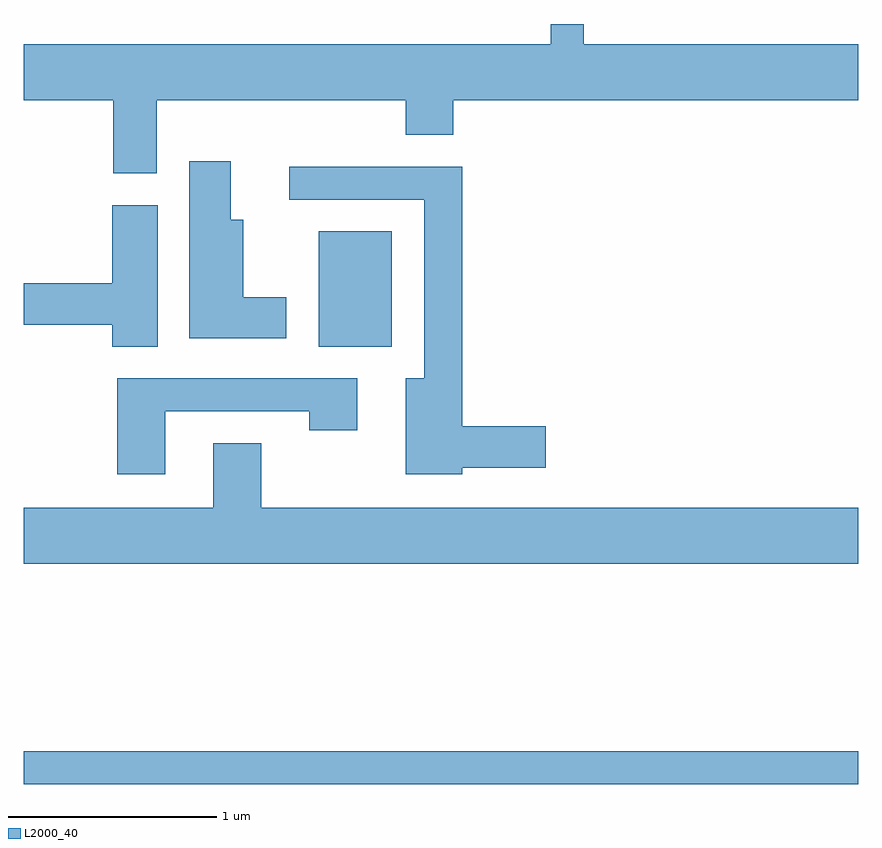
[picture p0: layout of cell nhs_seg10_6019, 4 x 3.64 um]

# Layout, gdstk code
import gdstk
lib = gdstk.Library(unit=1e-6, precision=1e-09)
def R(c, l, rs):  # rectangles x0, y0, x1, y1
    for r in rs: c.add(gdstk.rectangle(r[:2], r[2:], *l))
def P(c, l, *ps):  # polygons
    for p in ps: c.add(gdstk.Polygon(p, *l))
L2000_40 = (2000, 40)

nhs_seg10_6019 = lib.new_cell('nhs_seg10_6019')
R(nhs_seg10_6019, L2000_40, [(363.611,2092.881,367.611,2093.039), (365.026,2094.976,365.374,2095.529)])
P(nhs_seg10_6019, L2000_40, [(364.249,2096.156),(365.441,2096.156),(365.441,2095.991),(365.669,2095.991),(365.669,2096.156),(367.611,2096.156),(367.611,2096.424),(366.294,2096.424),(366.294,2096.522),(366.136,2096.522),(366.136,2096.424),(363.611,2096.424),(363.611,2096.156),(364.041,2096.156),(364.041,2095.806),(364.249,2095.806)],
  [(364.869,2095.214),(364.664,2095.214),(364.664,2095.584),(364.604,2095.584),(364.604,2095.864),(364.406,2095.864),(364.406,2095.016),(364.869,2095.016)],
  [(365.714,2094.396),(366.114,2094.396),(366.114,2094.594),(365.714,2094.594),(365.714,2095.839),(364.883,2095.839),(364.883,2095.681),(365.531,2095.681),(365.531,2094.824),(365.441,2094.824),(365.441,2094.366),(365.714,2094.366)],
  [(364.254,2095.654),(364.036,2095.654),(364.036,2095.279),(363.611,2095.279),(363.611,2095.081),(364.036,2095.081),(364.036,2094.976),(364.254,2094.976)],
  [(364.289,2094.666),(364.981,2094.666),(364.981,2094.576),(365.209,2094.576),(365.209,2094.824),(364.061,2094.824),(364.061,2094.366),(364.289,2094.366)],
  [(367.611,2094.204),(364.749,2094.204),(364.749,2094.514),(364.521,2094.514),(364.521,2094.204),(363.611,2094.204),(363.611,2093.936),(367.611,2093.936)])

lib.write_gds('nhs_seg10_6019.gds')
